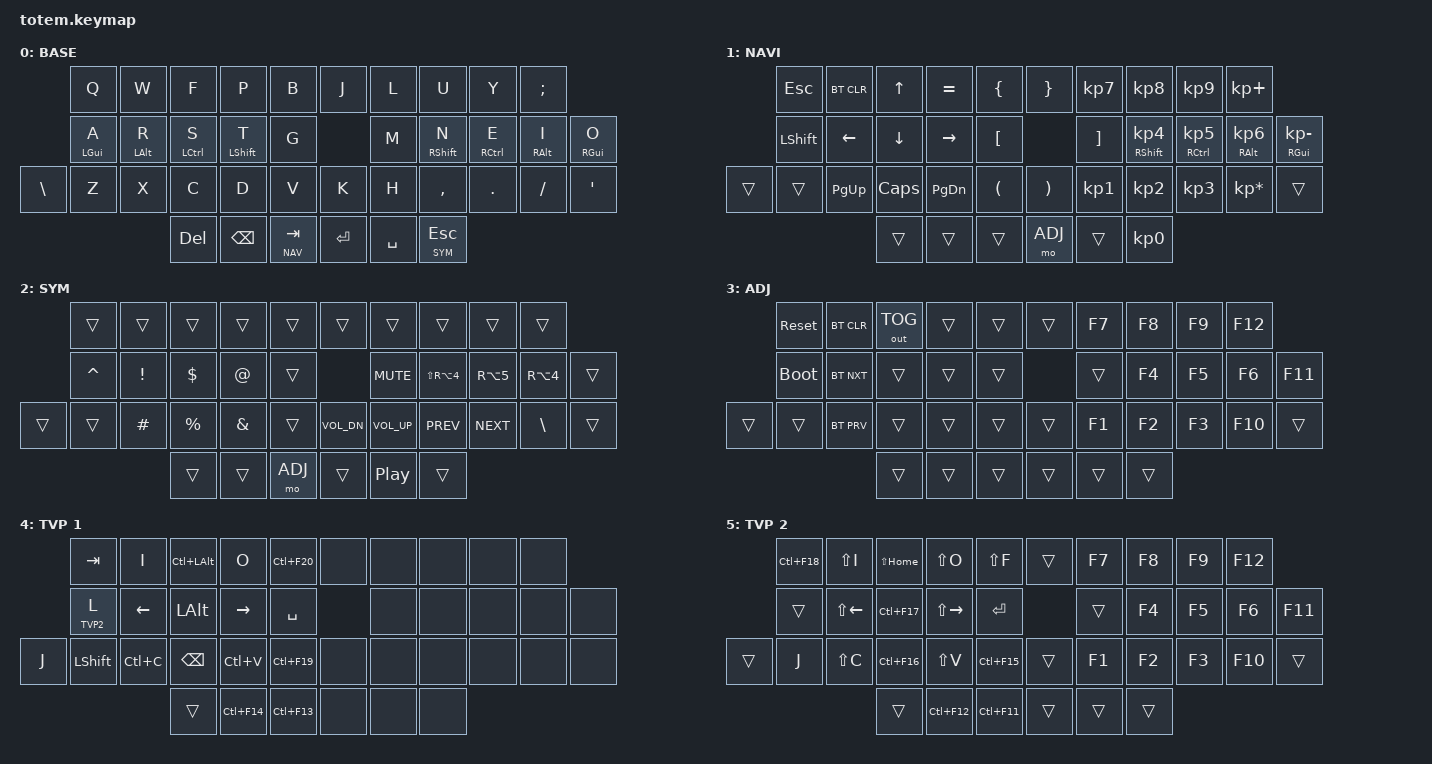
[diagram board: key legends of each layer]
//
//                                                        ▀▀▀▀▀     ▀▀▀▀▀          ▀▀█▀▀
//                                                        ▄▀▀▀▄  ▄  ▄▀▀▀▄  ▄  ▄▀▀▀▄  █  ▄▀▀▀▄
//                                                        █   █  █  █   █  █  █   █  █  █   █
//                                                         ▀▀▀   █   ▀▀▀   █   ▀▀▀   ▀   ▀▀▀
//                                                               █      ▄▄▄█▄▄▄    █   █  
//                                                               ▀      █  █  █     █▄█
//                                                             ▀▀▀▀▀    █  █  █      ▀
//                                                                      ▀  ▀  ▀
//
// ▄▄▄▄▄▄▄▄▄▄▄▄▄▄▄▄▄▄▄▄▄▄▄▄▄▄▄▄▄▄▄▄▄▄▄▄▄▄▄▄▄▄▄▄▄▄▄▄▄▄▄▄▄▄▄▄▄▄▄▄▄▄▄▄▄▄▄▄▄▄▄▄▄▄▄▄▄▄▄▄▄▄▄▄▄▄▄▄▄▄▄▄▄▄▄▄▄▄▄▄▄▄▄▄▄▄▄▄▄▄▄▄▄▄▄▄▄▄▄▄▄▄▄▄▄▄▄▄▄▄▄▄▄▄▄▄▄▄▄▄▄▄▄▄▄▄▄▄▄
       

#include <behaviors.dtsi>
#include <dt-bindings/zmk/keys.h>
#include <dt-bindings/zmk/bt.h>
#include <dt-bindings/zmk/outputs.h>

#define BASE 0
#define NAV  1
#define SYM  2
#define ADJ  3
#define TVP1 4
#define TVP2 5

&mt {
  quick-tap-ms = <100>;
  global-quick-tap;
  flavor = "tap-preferred";
  tapping-term-ms = <170>;
};

/ {
     combos {
            compatible = "zmk,combos";
            combo_esc {
                timeout-ms = <50>;
                key-positions = <0 1>;
                bindings = <&kp ESC>;
            };
            combo_tvp {
                timeout-ms = <100>;
                key-positions = <11 12 13>;
                bindings = <&tog TVP1>;
            };
    };

    macros {
        gif: gif {
            label = "giphy";
            compatible = "zmk,behavior-macro";
            #binding-cells = <0>;
            bindings
                = <&macro_press &kp LSHFT>
                , <&macro_tap &kp N2>
                , <&macro_release &kp LSHFT>
                , <&macro_tap &kp G &kp I &kp F>
                ;
        };
    };

        keymap {
                compatible = "zmk,keymap";
// ▄▄▄▄▄▄▄▄▄▄▄▄▄▄▄▄▄▄▄▄▄▄▄▄▄▄▄▄▄▄▄▄▄▄▄▄▄▄▄▄▄▄▄▄▄▄▄▄▄▄▄▄▄▄▄▄▄▄▄▄▄▄▄▄▄▄▄▄▄▄▄▄▄▄▄▄▄▄▄▄▄▄▄▄▄▄▄▄▄▄▄▄▄▄▄▄▄▄▄▄▄▄▄▄▄▄▄▄▄▄▄▄▄▄▄▄▄▄▄▄▄▄▄▄▄▄▄▄▄▄▄▄▄▄▄▄▄▄▄▄▄▄▄▄▄▄▄▄▄

                base_layer {
// ┏━━━━━━━━━━━━━━━━━━━━━━━━━━━━━━━━━━━━━━━┓
label= "BASE"                              ;
// ┗━━━━━━━━━━━━━━━━━━━━━━━━━━━━━━━━━━━━━━━┛
//             ┏━━━━━━━━━━━┳━━━━━━━━━━━┳━━━━━━━━━━━┳━━━━━━━━━━━┳━━━━━━━━━━━┓   ┏━━━━━━━━━━━┳━━━━━━━━━━━┳━━━━━━━━━━━┳━━━━━━━━━━━┳━━━━━━━━━━━┓
//             ┃     Q     ┃     W     ┃     F     ┃     P     ┃     B     ┃   ┃     J     ┃     L     ┃     U     ┃     Y     ┃     ;     ┃
//             ┣━━━━━━━━━━━╋━━━━━━━━━━━╋━━━━━━━━━━━╋━━━━━━━━━━━╋━━━━━━━━━━━┫   ┣━━━━━━━━━━━╋━━━━━━━━━━━╋━━━━━━━━━━━╋━━━━━━━━━━━╋━━━━━━━━━━━┫
//             ┃     A     ┃     R     ┃     S     ┃     T     ┃     G     ┃   ┃     M     ┃     N     ┃     E     ┃     I     ┃     O     ┃
// ┏━━━━━━━━━━━╋━━━━━━━━━━━╋━━━━━━━━━━━╋━━━━━━━━━━━╋━━━━━━━━━━━╋━━━━━━━━━━━┫   ┣━━━━━━━━━━━╋━━━━━━━━━━━╋━━━━━━━━━━━╋━━━━━━━━━━━╋━━━━━━━━━━━╋━━━━━━━━━━━┓
// ┃     \     ┃     Z     ┃     X     ┃     C     ┃     D     ┃     V     ┃   ┃     K     ┃     H     ┃     ,     ┃     .     ┃     /     ┃     '     ┃
// ┗━━━━━━━━━━━┻━━━━━━━━━━━┻━━━━━━━━━━━╋━━━━━━━━━━━╋━━━━━━━━━━━╋━━━━━━━━━━━┫   ┣━━━━━━━━━━━╋━━━━━━━━━━━╋━━━━━━━━━━━╋━━━━━━━━━━━┻━━━━━━━━━━━┻━━━━━━━━━━━┛
//                                     ┃   DEL     ┃    BSPC   ┃    TAB    ┃   ┃   ENTER   ┃    SPC    ┃           ┃
//                                     ┗━━━━━━━━━━━┻━━━━━━━━━━━┻━━━━━━━━━━━┛   ┗━━━━━━━━━━━┻━━━━━━━━━━━┻━━━━━━━━━━━┛
 bindings = <
// ╷           ╷           ╷           ╷           ╷           ╷           ╷   ╷           ╷           ╷           ╷           ╷           ╷           ╷

                &kp Q       &kp W       &kp F       &kp P       &kp B           &kp J       &kp L       &kp U       &kp Y       &kp SEMI
                &mt LGUI A  &mt LALT R  &mt LCTRL S &mt LSHFT T &kp G           &kp M       &mt RSHFT N &mt RCTRL E &mt RALT I  &mt RGUI O
    &kp BSLH       &kp Z       &kp X       &kp C       &kp D       &kp V           &kp K       &kp H       &kp COMMA   &kp DOT     &kp FSLH    &kp SQT
                                        &kp DEL   &kp BSPC   &lt NAV TAB       &kp RET   &kp SPACE   &lt SYM ESC
                        >;
                };

// ▄▄▄▄▄▄▄▄▄▄▄▄▄▄▄▄▄▄▄▄▄▄▄▄▄▄▄▄▄▄▄▄▄▄▄▄▄▄▄▄▄▄▄▄▄▄▄▄▄▄▄▄▄▄▄▄▄▄▄▄▄▄▄▄▄▄▄▄▄▄▄▄▄▄▄▄▄▄▄▄▄▄▄▄▄▄▄▄▄▄▄▄▄▄▄▄▄▄▄▄▄▄▄▄▄▄▄▄▄▄▄▄▄▄▄▄▄▄▄▄▄▄▄▄▄▄▄▄▄▄▄▄▄▄▄▄▄▄▄▄▄▄▄▄▄▄▄▄▄


                nav_layer {
// ┏━━━━━━━━━━━━━━━━━━━━━━━━━━━━━━━━━━━━━━━┓
label= "NAVI"                              ;
// ┗━━━━━━━━━━━━━━━━━━━━━━━━━━━━━━━━━━━━━━━┛
//             ┏━━━━━━━━━━━┳━━━━━━━━━━━┳━━━━━━━━━━━┳━━━━━━━━━━━┳━━━━━━━━━━━┓   ┏━━━━━━━━━━━┳━━━━━━━━━━━┳━━━━━━━━━━━┳━━━━━━━━━━━┳━━━━━━━━━━━┓
//             ┃    ESC    ┃           ┃     UP    ┃     =     ┃     {     ┃   ┃     }     ┃     7     ┃     8     ┃     9     ┃     +     ┃
//             ┣━━━━━━━━━━━╋━━━━━━━━━━━╋━━━━━━━━━━━╋━━━━━━━━━━━╋━━━━━━━━━━━┫   ┣━━━━━━━━━━━╋━━━━━━━━━━━╋━━━━━━━━━━━╋━━━━━━━━━━━╋━━━━━━━━━━━┫
//             ┃   SHIFT   ┃   LEFT    ┃    DOWN   ┃   RIGHT   ┃     [     ┃   ┃     ]     ┃     4     ┃     5     ┃     6     ┃     -     ┃
// ┏━━━━━━━━━━━╋━━━━━━━━━━━╋━━━━━━━━━━━╋━━━━━━━━━━━╋━━━━━━━━━━━╋━━━━━━━━━━━┫   ┣━━━━━━━━━━━╋━━━━━━━━━━━╋━━━━━━━━━━━╋━━━━━━━━━━━╋━━━━━━━━━━━╋━━━━━━━━━━━┓
// ┃           ┃           ┃   P UP    ┃  C LOCK   ┃  P DOWN   ┃     (     ┃   ┃     )     ┃     1     ┃     2     ┃     3     ┃     *     ┃           ┃
// ┗━━━━━━━━━━━┻━━━━━━━━━━━┻━━━━━━━━━━━╋━━━━━━━━━━━╋━━━━━━━━━━━╋━━━━━━━━━━━┫   ┣━━━━━━━━━━━╋━━━━━━━━━━━╋━━━━━━━━━━━╋━━━━━━━━━━━┻━━━━━━━━━━━┻━━━━━━━━━━━┛
//                                     ┃     DEL   ┃   BSPC    ┃    TAB    ┃   ┃    ADJ    ┃    SPC    ┃     0     ┃
//                                     ┗━━━━━━━━━━━┻━━━━━━━━━━━┻━━━━━━━━━━━┛   ┗━━━━━━━━━━━┻━━━━━━━━━━━┻━━━━━━━━━━━┛
 bindings = <
// ╷           ╷           ╷           ╷           ╷           ╷           ╷   ╷           ╷           ╷           ╷           ╷           ╷           ╷

                &kp ESC     &bt BT_CLR  &kp UP      &kp EQUAL   &kp LBRC        &kp RBRC    &kp KP_N7   &kp KP_N8   &kp KP_N9   &kp KP_PLUS
                &kp LSHFT   &kp LEFT    &kp DOWN    &kp RIGHT   &kp LBKT        &kp RBKT  &mt RSHFT KP_N4 &mt RCTRL KP_N5 &mt RALT KP_N6 &mt RGUI KP_MINUS
    &trans      &trans      &kp PG_UP   &kp CAPS    &kp PG_DN   &kp LPAR        &kp RPAR    &kp KP_N1   &kp KP_N2   &kp KP_N3   &kp KP_MULTIPLY &trans      
                                        &trans      &trans      &trans          &mo ADJ     &trans      &kp KP_N0   
                        >;
                };

// ▄▄▄▄▄▄▄▄▄▄▄▄▄▄▄▄▄▄▄▄▄▄▄▄▄▄▄▄▄▄▄▄▄▄▄▄▄▄▄▄▄▄▄▄▄▄▄▄▄▄▄▄▄▄▄▄▄▄▄▄▄▄▄▄▄▄▄▄▄▄▄▄▄▄▄▄▄▄▄▄▄▄▄▄▄▄▄▄▄▄▄▄▄▄▄▄▄▄▄▄▄▄▄▄▄▄▄▄▄▄▄▄▄▄▄▄▄▄▄▄▄▄▄▄▄▄▄▄▄▄▄▄▄▄▄▄▄▄▄▄▄▄▄▄▄▄▄▄▄


                sim_layer {
// ┏━━━━━━━━━━━━━━━━━━━━━━━━━━━━━━━━━━━━━━━┓
display-name = "SYM"                       ;
// ┗━━━━━━━━━━━━━━━━━━━━━━━━━━━━━━━━━━━━━━━┛
//             ┏━━━━━━━━━━━┳━━━━━━━━━━━┳━━━━━━━━━━━┳━━━━━━━━━━━┳━━━━━━━━━━━┓   ┏━━━━━━━━━━━┳━━━━━━━━━━━┳━━━━━━━━━━━┳━━━━━━━━━━━┳━━━━━━━━━━━┓
//             ┃           ┃           ┃           ┃           ┃           ┃   ┃           ┃           ┃           ┃           ┃           ┃
//             ┣━━━━━━━━━━━╋━━━━━━━━━━━╋━━━━━━━━━━━╋━━━━━━━━━━━╋━━━━━━━━━━━┫   ┣━━━━━━━━━━━╋━━━━━━━━━━━╋━━━━━━━━━━━╋━━━━━━━━━━━╋━━━━━━━━━━━┫
//             ┃     ˆ     ┃     !     ┃     $     ┃     @     ┃           ┃   ┃   MUTE    ┃   YEN     ┃   EURO    ┃  POUND    ┃           ┃
// ┏━━━━━━━━━━━╋━━━━━━━━━━━╋━━━━━━━━━━━╋━━━━━━━━━━━╋━━━━━━━━━━━╋━━━━━━━━━━━┫   ┣━━━━━━━━━━━╋━━━━━━━━━━━╋━━━━━━━━━━━╋━━━━━━━━━━━╋━━━━━━━━━━━╋━━━━━━━━━━━┓
// ┃           ┃           ┃     #     ┃     %     ┃     &     ┃           ┃   ┃   VOL-    ┃   VOL+    ┃   LAST    ┃   NEXT    ┃     \     ┃           ┃
// ┗━━━━━━━━━━━┻━━━━━━━━━━━┻━━━━━━━━━━━╋━━━━━━━━━━━╋━━━━━━━━━━━╋━━━━━━━━━━━┫   ┣━━━━━━━━━━━╋━━━━━━━━━━━╋━━━━━━━━━━━╋━━━━━━━━━━━┻━━━━━━━━━━━┻━━━━━━━━━━━┛
//                                     ┃           ┃           ┃    ADJ    ┃   ┃           ┃    PLAY   ┃           ┃
//                                     ┗━━━━━━━━━━━┻━━━━━━━━━━━┻━━━━━━━━━━━┛   ┗━━━━━━━━━━━┻━━━━━━━━━━━┻━━━━━━━━━━━┛
 bindings = <
// ╷           ╷           ╷           ╷           ╷           ╷           ╷   ╷           ╷           ╷           ╷           ╷           ╷           ╷

                &trans      &trans      &trans      &trans      &trans          &trans      &trans      &trans      &trans      &trans       
                &kp CARET   &kp EXCL    &kp DLLR    &kp AT      &trans          &kp C_MUTE  &kp LS(RA(N4)) &kp RA(N5) &kp RA(N4) &trans 
    &trans      &trans      &kp HASH    &kp PRCNT   &kp AMPS    &trans          &kp C_VOL_DN &kp C_VOL_UP &kp C_PREV &kp C_NEXT  &kp BSLH   &trans         
                                        &trans      &trans      &mo ADJ         &trans      &kp C_PP    &trans      
                        >;
                };

// ▄▄▄▄▄▄▄▄▄▄▄▄▄▄▄▄▄▄▄▄▄▄▄▄▄▄▄▄▄▄▄▄▄▄▄▄▄▄▄▄▄▄▄▄▄▄▄▄▄▄▄▄▄▄▄▄▄▄▄▄▄▄▄▄▄▄▄▄▄▄▄▄▄▄▄▄▄▄▄▄▄▄▄▄▄▄▄▄▄▄▄▄▄▄▄▄▄▄▄▄▄▄▄▄▄▄▄▄▄▄▄▄▄▄▄▄▄▄▄▄▄▄▄▄▄▄▄▄▄▄▄▄▄▄▄▄▄▄▄▄▄▄▄▄▄▄▄▄▄


                adjust_layer {
// ┏━━━━━━━━━━━━━━━━━━━━━━━━━━━━━━━━━━━━━━━┓
label= "ADJ"                               ;
// ┗━━━━━━━━━━━━━━━━━━━━━━━━━━━━━━━━━━━━━━━┛
//             ┏━━━━━━━━━━━┳━━━━━━━━━━━┳━━━━━━━━━━━┳━━━━━━━━━━━┳━━━━━━━━━━━┓   ┏━━━━━━━━━━━┳━━━━━━━━━━━┳━━━━━━━━━━━┳━━━━━━━━━━━┳━━━━━━━━━━━┓
//             ┃   RESET   ┃ BT CLEAR  ┃  OUT TOG  ┃           ┃           ┃   ┃           ┃    F7     ┃    F8     ┃    F9     ┃    F12    ┃
//             ┣━━━━━━━━━━━╋━━━━━━━━━━━╋━━━━━━━━━━━╋━━━━━━━━━━━╋━━━━━━━━━━━┫   ┣━━━━━━━━━━━╋━━━━━━━━━━━╋━━━━━━━━━━━╋━━━━━━━━━━━╋━━━━━━━━━━━┫
//             ┃ BOOTLOAD  ┃ BT NEXT   ┃           ┃           ┃           ┃   ┃           ┃    F4     ┃    F5     ┃    F6     ┃    F11    ┃
// ┏━━━━━━━━━━━╋━━━━━━━━━━━╋━━━━━━━━━━━╋━━━━━━━━━━━╋━━━━━━━━━━━╋━━━━━━━━━━━┫   ┣━━━━━━━━━━━╋━━━━━━━━━━━╋━━━━━━━━━━━╋━━━━━━━━━━━╋━━━━━━━━━━━╋━━━━━━━━━━━┓
// ┃           ┃           ┃ BT PREV   ┃           ┃           ┃           ┃   ┃           ┃    F1     ┃    F2     ┃    F3     ┃    F10    ┃           ┃
// ┗━━━━━━━━━━━┻━━━━━━━━━━━┻━━━━━━━━━━━╋━━━━━━━━━━━╋━━━━━━━━━━━╋━━━━━━━━━━━┫   ┣━━━━━━━━━━━╋━━━━━━━━━━━╋━━━━━━━━━━━╋━━━━━━━━━━━┻━━━━━━━━━━━┻━━━━━━━━━━━┛
//                                     ┃           ┃           ┃           ┃   ┃           ┃           ┃           ┃
//                                     ┗━━━━━━━━━━━┻━━━━━━━━━━━┻━━━━━━━━━━━┛   ┗━━━━━━━━━━━┻━━━━━━━━━━━┻━━━━━━━━━━━┛
 bindings = <
// ╷           ╷           ╷           ╷           ╷           ╷           ╷   ╷           ╷           ╷           ╷           ╷           ╷           ╷

                &sys_reset  &bt BT_CLR &out OUT_TOG &trans      &trans          &trans      &kp F7      &kp F8      &kp F9      &kp F12
                &bootloader &bt BT_NXT  &trans      &trans      &trans          &trans      &kp F4      &kp F5      &kp F6      &kp F11  
    &trans      &trans      &bt BT_PRV  &trans      &trans      &trans          &trans      &kp F1      &kp F2      &kp F3      &kp F10     &trans         
                                        &trans      &trans      &trans          &trans      &trans      &trans      
                        >;
                };

// ▄▄▄▄▄▄▄▄▄▄▄▄▄▄▄▄▄▄▄▄▄▄▄▄▄▄▄▄▄▄▄▄▄▄▄▄▄▄▄▄▄▄▄▄▄▄▄▄▄▄▄▄▄▄▄▄▄▄▄▄▄▄▄▄▄▄▄▄▄▄▄▄▄▄▄▄▄▄▄▄▄▄▄▄▄▄▄▄▄▄▄▄▄▄▄▄▄▄▄▄▄▄▄▄▄▄▄▄▄▄▄▄▄▄▄▄▄▄▄▄▄▄▄▄▄▄▄▄▄▄▄▄▄▄▄▄▄▄▄▄▄▄▄▄▄▄▄▄▄


                tvp1_layer {
// ┏━━━━━━━━━━━━━━━━━━━━━━━━━━━━━━━━━━━━━━━┓
label= "TVP 1"                             ;
// ┗━━━━━━━━━━━━━━━━━━━━━━━━━━━━━━━━━━━━━━━┛
//             ┏━━━━━━━━━━━┳━━━━━━━━━━━┳━━━━━━━━━━━┳━━━━━━━━━━━┳━━━━━━━━━━━┓   ┏━━━━━━━━━━━┳━━━━━━━━━━━┳━━━━━━━━━━━┳━━━━━━━━━━━┳━━━━━━━━━━━┓
//             ┃ NEXT FILE ┃ MARK IN   ┃ ROTATE    ┃ MARK OUT  ┃ SHOW SNAP ┃   ┃           ┃           ┃           ┃           ┃           ┃
//             ┣━━━━━━━━━━━╋━━━━━━━━━━━╋━━━━━━━━━━━╋━━━━━━━━━━━╋━━━━━━━━━━━┫   ┣━━━━━━━━━━━╋━━━━━━━━━━━╋━━━━━━━━━━━╋━━━━━━━━━━━╋━━━━━━━━━━━┫
//             ┃ TVP II    ┃ LEFT      ┃ PAN       ┃ RIGHT     ┃ PLAY/FLIP ┃   ┃           ┃           ┃           ┃           ┃           ┃
// ┏━━━━━━━━━━━╋━━━━━━━━━━━╋━━━━━━━━━━━╋━━━━━━━━━━━╋━━━━━━━━━━━╋━━━━━━━━━━━┫   ┣━━━━━━━━━━━╋━━━━━━━━━━━╋━━━━━━━━━━━╋━━━━━━━━━━━╋━━━━━━━━━━━╋━━━━━━━━━━━┓
// ┃ FULLSCR   ┃ SHIFT     ┃ COPY      ┃ DELETE    ┃ PASTE     ┃ IMG MARK  ┃   ┃           ┃           ┃           ┃           ┃           ┃           ┃
// ┗━━━━━━━━━━━┻━━━━━━━━━━━┻━━━━━━━━━━━╋━━━━━━━━━━━╋━━━━━━━━━━━╋━━━━━━━━━━━┫   ┣━━━━━━━━━━━╋━━━━━━━━━━━╋━━━━━━━━━━━╋━━━━━━━━━━━┻━━━━━━━━━━━┻━━━━━━━━━━━┛
//                                     ┃           ┃ UNDO/SAVE ┃  SEL/MOV  ┃   ┃           ┃           ┃           ┃
//                                     ┗━━━━━━━━━━━┻━━━━━━━━━━━┻━━━━━━━━━━━┛   ┗━━━━━━━━━━━┻━━━━━━━━━━━┻━━━━━━━━━━━┛
 bindings = <
// ╷           ╷           ╷           ╷           ╷           ╷           ╷   ╷           ╷           ╷           ╷           ╷           ╷           ╷

                &kp TAB     &kp I       &kp LC(LALT) &kp O      &kp LC(F20)     &none       &none       &none       &none       &none
                &lt TVP2 L  &kp LEFT    &kp LALT    &kp RIGHT   &kp SPACE       &none       &none       &none       &none       &none
    &kp J       &kp LSHFT   &kp LC(C)   &kp BSPC    &kp LC(V)   &kp LC(F19)     &none       &none       &none       &none       &none       &none        
                                        &trans      &kp LC(F14) &kp LC(F13)     &none       &none       &none    
                        >;
                };

// ▄▄▄▄▄▄▄▄▄▄▄▄▄▄▄▄▄▄▄▄▄▄▄▄▄▄▄▄▄▄▄▄▄▄▄▄▄▄▄▄▄▄▄▄▄▄▄▄▄▄▄▄▄▄▄▄▄▄▄▄▄▄▄▄▄▄▄▄▄▄▄▄▄▄▄▄▄▄▄▄▄▄▄▄▄▄▄▄▄▄▄▄▄▄▄▄▄▄▄▄▄▄▄▄▄▄▄▄▄▄▄▄▄▄▄▄▄▄▄▄▄▄▄▄▄▄▄▄▄▄▄▄▄▄▄▄▄▄▄▄▄▄▄▄▄▄▄▄▄


                tvp2_layer {
// ┏━━━━━━━━━━━━━━━━━━━━━━━━━━━━━━━━━━━━━━━┓
label= "TVP 2"                             ;
// ┗━━━━━━━━━━━━━━━━━━━━━━━━━━━━━━━━━━━━━━━┛
//             ┏━━━━━━━━━━━┳━━━━━━━━━━━┳━━━━━━━━━━━┳━━━━━━━━━━━┳━━━━━━━━━━━┓   ┏━━━━━━━━━━━┳━━━━━━━━━━━┳━━━━━━━━━━━┳━━━━━━━━━━━┳━━━━━━━━━━━┓
//             ┃ SOLO      ┃ TOGGLE IN ┃ RESET ROT ┃ TOGGLE OUT┃ TAKE SNAP ┃   ┃           ┃           ┃           ┃           ┃           ┃
//             ┣━━━━━━━━━━━╋━━━━━━━━━━━╋━━━━━━━━━━━╋━━━━━━━━━━━╋━━━━━━━━━━━┫   ┣━━━━━━━━━━━╋━━━━━━━━━━━╋━━━━━━━━━━━╋━━━━━━━━━━━╋━━━━━━━━━━━┫
//             ┃ ---       ┃ LAST KEY  ┃ NEW KEY   ┃ NEXT KEY  ┃ ENTER     ┃   ┃           ┃           ┃           ┃           ┃           ┃
// ┏━━━━━━━━━━━╋━━━━━━━━━━━╋━━━━━━━━━━━╋━━━━━━━━━━━╋━━━━━━━━━━━╋━━━━━━━━━━━┫   ┣━━━━━━━━━━━╋━━━━━━━━━━━╋━━━━━━━━━━━╋━━━━━━━━━━━╋━━━━━━━━━━━╋━━━━━━━━━━━┓
// ┃           ┃ FULLSCR   ┃ CPY2BRUSH ┃ DEL HEAD  ┃ PSTinPLACE┃ BOOK MARK ┃   ┃           ┃           ┃           ┃           ┃           ┃           ┃
// ┗━━━━━━━━━━━┻━━━━━━━━━━━┻━━━━━━━━━━━╋━━━━━━━━━━━╋━━━━━━━━━━━╋━━━━━━━━━━━┫   ┣━━━━━━━━━━━╋━━━━━━━━━━━╋━━━━━━━━━━━╋━━━━━━━━━━━┻━━━━━━━━━━━┻━━━━━━━━━━━┛
//                                     ┃           ┃ REDO/SAV1 ┃TRANS/WARP ┃   ┃           ┃           ┃           ┃
//                                     ┗━━━━━━━━━━━┻━━━━━━━━━━━┻━━━━━━━━━━━┛   ┗━━━━━━━━━━━┻━━━━━━━━━━━┻━━━━━━━━━━━┛
 bindings = <
// ╷           ╷           ╷           ╷           ╷           ╷           ╷   ╷           ╷           ╷           ╷           ╷           ╷           ╷

                &kp LC(F18) &kp LS(I)  &kp LS(HOME) &kp LS(O)   &kp LS(F)       &trans      &kp F7      &kp F8      &kp F9      &kp F12
                &trans      &kp LS(LEFT) &kp LC(F17) &kp LS(RIGHT) &kp RET      &trans      &kp F4      &kp F5      &kp F6      &kp F11  
    &trans      &kp J       &kp LS(C)   &kp LC(F16) &kp LS(V)   &kp LC(F15)     &trans      &kp F1      &kp F2      &kp F3      &kp F10     &trans         
                                        &trans      &kp LC(F12) &kp LC(F11)     &trans      &trans      &trans      
                        >;
                };
        };
};
